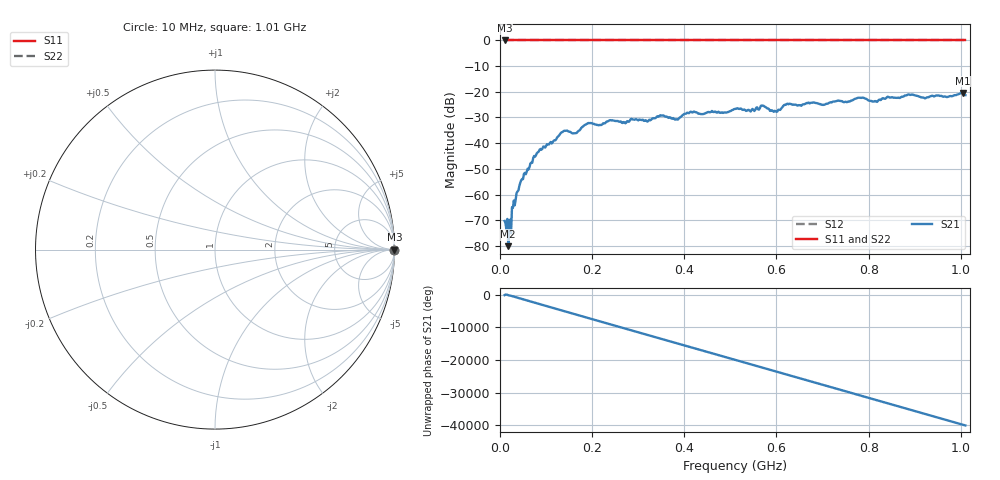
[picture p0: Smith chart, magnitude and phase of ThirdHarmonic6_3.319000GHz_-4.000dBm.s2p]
! 8/17/2025 10:23:37 AM
! C:\ANRITSUVNA\TEMP\TEMP.S2P
! CHANNEL.1
! TR.MEASUREMENT
! RAW.DATA
! RF.CORRECTION.OFF
! AVERAGING.OFF
! IF.BANDWIDTH: 5KHZ
! SWEEPTYPE:  FREQ.SWEEP(Linear)
! Reference Plane Port Info
! PORT:  PORT1  PORT2
! DISTANCE:  0  m  0  m
! TIME:  0  s  0  s
! PHASE.OFFSET:  0  deg.  0  deg.
! LOSS:  0  dB  0  dB
! REF.LOSS:  0  dB  0  dB
! REF.FREQ:  0  Hz  0  Hz
! Power Info
! POWER:  -20  dBm  -20  dBm
! EFF.POWER:  -20  dBm  -20  dBm
! SOURCE.ATTEN:  0  dB  0  dB
! TEST.ATTEN:  0  dB  0  dB
# GHZ S RI R 50.0
! FREQ.GHZ  S11RE  S11IM  S21RE  S21IM  S12RE  S12IM  S22RE  S22IM
!; PortSelection: Port_12
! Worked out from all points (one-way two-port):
!   501 points, 10 MHz to 1.01 GHz, reference 50 ohm
!   highest |S21| = -20.49 dB at 1.004 GHz (marker M1); lowest = -80.1 dB at 18 MHz (marker M2)
!   lowest |S11| = 0.0 dB at 10 MHz (marker M3)
!   |S11| at or under -10 dB: nowhere
!   |S22| runs from 0.0 to 0.0 dB; largest |S21 - S12| = 1.1
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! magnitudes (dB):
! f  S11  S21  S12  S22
! 10 MHz  0.0  -70.3  0.0  0.0
! 18 MHz  0.0  -80.1  0.0  0.0
! 22 MHz  0.0  -69.8  0.0  0.0
! 30 MHz  0.0  -62.3  0.0  0.0
! 44 MHz  0.0  -55.4  0.0  0.0
! 76 MHz  0.0  -45.3  0.0  0.0
! 136 MHz  0.0  -35.7  0.0  0.0
! 162 MHz  0.0  -36.2  0.0  0.0
! 178 MHz  0.0  -33.8  0.0  0.0
! 344 MHz  0.0  -29.7  0.0  0.0
! 384 MHz  0.0  -30.7  0.0  0.0
! 416 MHz  0.0  -28.0  0.0  0.0
! 510 MHz  0.0  -26.7  0.0  0.0
! 570 MHz  0.0  -25.4  0.0  0.0
! 598 MHz  0.0  -27.6  0.0  0.0
! 620 MHz  0.0  -25.1  0.0  0.0
! 678 MHz  0.0  -24.2  0.0  0.0
! 782 MHz  0.0  -22.3  0.0  0.0
! 814 MHz  0.0  -23.6  0.0  0.0
! 844 MHz  0.0  -22.1  0.0  0.0
! 1.004 GHz  0.0  -20.5  0.0  0.0
! 1.01 GHz  0.0  -21.3  0.0  0.0
